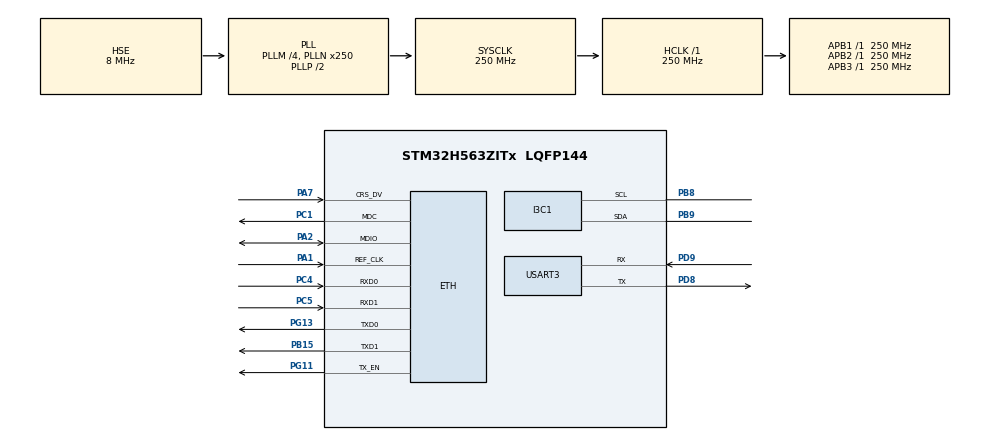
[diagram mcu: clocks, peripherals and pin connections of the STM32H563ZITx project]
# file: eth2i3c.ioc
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CORTEX_M33_NS.userName=CORTEX_M33
ETH.MediaInterface=HAL_ETH_RMII_MODE
ETH.RxBuffLen=1536
GPDMA1.DESTDATAWIDTH_GPDMACH0=DMA_DEST_DATAWIDTH_WORD
GPDMA1.DESTINC_GPDMACH1=DMA_DINC_INCREMENTED
GPDMA1.DIRECTION_GPDMACH2=DMA_MEMORY_TO_PERIPH
GPDMA1.IPHANDLE_GPDMACH0-SIMPLEREQUEST_GPDMACH0=__NULL
GPDMA1.IPHANDLE_GPDMACH1-SIMPLEREQUEST_GPDMACH1=__NULL
GPDMA1.IPHANDLE_GPDMACH2-SIMPLEREQUEST_GPDMACH2=__NULL
GPDMA1.REQUEST_GPDMACH0=GPDMA1_REQUEST_I3C1_TC
GPDMA1.REQUEST_GPDMACH1=GPDMA1_REQUEST_I3C1_RX
GPDMA1.REQUEST_GPDMACH2=GPDMA1_REQUEST_I3C1_TX
GPDMA1.SRCDATAWIDTH_GPDMACH0=DMA_SRC_DATAWIDTH_WORD
GPDMA1.SRCINC_GPDMACH0=DMA_SINC_INCREMENTED
GPDMA1.SRCINC_GPDMACH2=DMA_SINC_INCREMENTED
I3C1.BusFreeDuration=850
I3C1.DutyCycleI3C=50
I3C1.FrequencyI3C=12500
I3C1.RXFIFOThreshold=HAL_I3C_RXFIFO_THRESHOLD_1_4
I3C1.Register0=0x007c0909
I3C1.Register1=0x106a7cf8
I3C1.SCLI3CHighDuration=0x09
I3C1.SCLODLowDuration=0x7c
I3C1.SCLPPLowDuration=0x09
I3C1.SDAHoldTime=HAL_I3C_SDA_HOLD_TIME_1_5
I3C1.StallTime=0
I3C1.TXFIFOThreshold=HAL_I3C_TXFIFO_THRESHOLD_1_4
I3C1.hexBusFreeDuration=0x6a
I3C1.hexBusIdleDuration=0xf8
Mcu.Family=STM32H5
Mcu.Name=STM32H563ZITx
Mcu.Package=LQFP144
NVIC.ETH_IRQn=true\:7\:0\:true\:false\:true\:false\:true\:true\:true
NVIC.GPDMA1_Channel0_IRQn=true\:6\:0\:false\:false\:true\:false\:true\:true\:true
NVIC.GPDMA1_Channel1_IRQn=true\:6\:0\:false\:false\:true\:false\:true\:true\:true
NVIC.GPDMA1_Channel2_IRQn=true\:6\:0\:false\:false\:true\:false\:true\:true\:true
NVIC.I3C1_ER_IRQn=true\:6\:0\:false\:false\:true\:true\:true\:true\:true
NVIC.I3C1_EV_IRQn=true\:6\:0\:false\:false\:true\:true\:true\:true\:true
NVIC.PriorityGroup=NVIC_PRIORITYGROUP_4
NVIC.TIM6_IRQn=true\:15\:0\:false\:false\:true\:false\:false\:true\:true
NVIC.TimeBase=TIM6_IRQn
NVIC.TimeBaseIP=TIM6
PA1.Mode=RMII
PA1.Signal=ETH_REF_CLK
PA2.Mode=RMII
PA2.Signal=ETH_MDIO
PA7.Mode=RMII
PA7.Signal=ETH_CRS_DV
PB8.Mode=Controller
PB8.Signal=I3C1_SCL
PB9.Mode=Controller
PB9.Signal=I3C1_SDA
PB15.Mode=RMII
PB15.Signal=ETH_TXD1
PC1.Mode=RMII
PC1.Signal=ETH_MDC
PC4.Mode=RMII
PC4.Signal=ETH_RXD0
PC5.Mode=RMII
PC5.Signal=ETH_RXD1
PD8.Mode=Asynchronous
PD8.Signal=USART3_TX
PD9.Mode=Asynchronous
PD9.Signal=USART3_RX
PG11.Mode=RMII
PG11.Signal=ETH_TX_EN
PG13.Mode=RMII
PG13.Signal=ETH_TXD0
PH0-OSC_IN(PH0).Mode=HSE-DIG-External-Clock-Source
PH0-OSC_IN(PH0).Signal=RCC_OSC_IN
ProjectManager.HeapSize=0x200
ProjectManager.StackSize=0x400
ProjectManager.TargetToolchain=EWARM V9.20
RCC.ADCFreq_Value=250000000
RCC.AHBFreq_Value=250000000
RCC.APB1Freq_Value=250000000
RCC.APB1TimFreq_Value=250000000
RCC.APB2Freq_Value=250000000
RCC.APB2TimFreq_Value=250000000
RCC.APB3Freq_Value=250000000
RCC.CSI_VALUE=4000000
RCC.CortexFreq_Value=250000000
RCC.EPOD_VALUE=8000000
RCC.HCLKFreq_Value=250000000
RCC.HSE_VALUE=8000000
RCC.HSI48_VALUE=48000000
RCC.HSIDiv=RCC_HSI_DIV1
RCC.HSI_VALUE=64000000
RCC.LSE_VALUE=32768
RCC.LSIRC_VALUE=32000
RCC.PLLFRACN=0
RCC.PLLM=4
RCC.PLLN=250
RCC.PLLSourceVirtual=RCC_PLL1_SOURCE_HSE
RCC.SYSCLKFreq_VALUE=250000000
RCC.SYSCLKSource=RCC_SYSCLKSOURCE_PLLCLK
RCC.USBFreq_Value=48000000
RCC.VCOOutputFreq_Value=500000000
USART3.VirtualMode=VM_ASYNC
USART3.VirtualMode-Asynchronous=VM_ASYNC
VP_BOOTPATH_VS_BOOTPATH.Mode=BP_Activate
VP_CORTEX_M33_NS_VS_Hclk.Mode=Hclk_Mode
VP_GPDMA1_VS_GPDMACH0.Mode=SIMPLEREQUEST_GPDMACH0
VP_GPDMA1_VS_GPDMACH1.Mode=SIMPLEREQUEST_GPDMACH1
VP_GPDMA1_VS_GPDMACH2.Mode=SIMPLEREQUEST_GPDMACH2
VP_ICACHE_VS_ICACHE.Mode=DefaultMode
VP_MEMORYMAP_VS_MEMORYMAP.Mode=CurAppReg
VP_PWR_VS_DBSignals.Mode=DisableDeadBatterySignals
VP_PWR_VS_LPOM.Mode=PowerOptimisation
VP_PWR_VS_SECSignals.Mode=Security/Privilege
VP_SYS_VS_tim6.Mode=TIM6
board=custom

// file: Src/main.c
/* USER CODE BEGIN Header */
/**
 ******************************************************************************
 * @file    Src/main.c
 * @author  MCD Application Team
 * @brief   Main program body
 ******************************************************************************
 * @attention
 *
 * Copyright (c) 2023 STMicroelectronics.
 * All rights reserved.
 *
 * This software is licensed under terms that can be found in the LICENSE file
 * in the root directory of this software component.
 * If no LICENSE file comes with this software, it is provided AS-IS.
 *
 ******************************************************************************
 */
/* USER CODE END Header */
#include "app_freertos.h"
#include "cmsis_os2.h"
#include "main.h"

/* USER CODE BEGIN Includes */
#include "i3c_target.h"

#if defined(__ICCARM__)
#include <LowLevelIOInterface.h>
#endif /* __ICCARM__ */

/* USER CODE END Includes */

UART_HandleTypeDef huart3;
I3C_HandleTypeDef hi3c1;
DMA_HandleTypeDef handle_GPDMA1_Channel2;
DMA_HandleTypeDef handle_GPDMA1_Channel1;
DMA_HandleTypeDef handle_GPDMA1_Channel0;

void SystemClock_Config(void);
static void MX_GPIO_Init(void);
static void MX_ICACHE_Init(void);
static void MX_USART3_UART_Init(void);
static void MX_GPDMA1_Init(void);
static void MX_I3C1_Init(void);

/* USER CODE BEGIN PFP */
#if defined(__ICCARM__)
/* New definition from EWARM V9, compatible with EWARM8 */
int iar_fputc(int ch);
#define PUTCHAR_PROTOTYPE int iar_fputc(int ch)
#elif defined(__CC_ARM) || defined(__ARMCC_VERSION)
/* ARM Compiler 5/6*/
#define PUTCHAR_PROTOTYPE int fputc(int ch, FILE *f)
#elif defined(__GNUC__)
#define PUTCHAR_PROTOTYPE int __io_putchar(int ch)
#endif /* __ICCARM__ */
/* USER CODE END PFP */

/* USER CODE BEGIN 0 */
void HAL_I3C_TgtReqDynamicAddrCallback(I3C_HandleTypeDef *hi3c, uint64_t targetPayload)
{
    Controller_t *controller = ControllerGetByHal(hi3c);

    if ((controller != NULL) && (controller->assignedCount < TARGET_MAX_COUNT))
    {
        uint8_t dynamicAddress = controller->nextDa;
        uint32_t attempts;

        /* Find an unassigned dynamic address in the range 0x10-0x7D. */
        for (attempts = 0U; attempts < 0x6EU; ++attempts)
        {
            if ((dynamicAddress < 0x10U) || (dynamicAddress >= 0x7EU))
            {
                dynamicAddress = 0x10U;
            }
            if (TargetFindByDa(dynamicAddress) == NULL)
            {
                break;
            }
            ++dynamicAddress;
        }
        if (attempts >= 0x6EU)
        {
            controller->daaError = 1U;
            controller->daaDone = 1U;
            return;
        }

        if (HAL_I3C_Ctrl_SetDynAddr(hi3c, dynamicAddress) != HAL_OK)
        {
            controller->daaError = 1U;
            controller->daaDone = 1U;
            return;
        }
        if (TargetCreateByDa(dynamicAddress, targetPayload) == NULL)
        {
            controller->daaError = 1U;
            controller->daaDone = 1U;
            return;
        }

        ++controller->assignedCount;
        controller->nextDa = (uint8_t)(dynamicAddress + 1U);
        return;
    }

    if (controller != NULL)
    {
        controller->daaError = 1U;
        controller->daaDone = 1U;
    }
}

void HAL_I3C_CtrlDAACpltCallback(I3C_HandleTypeDef *hi3c)
{
    Controller_t *controller = ControllerGetByHal(hi3c);

    if (controller != NULL)
    {
        controller->daaDone = 1U;
    }
}

void HAL_I3C_ErrorCallback(I3C_HandleTypeDef *hi3c)
{
    Controller_t *controller = ControllerGetByHal(hi3c);

    if (controller != NULL)
    {
        controller->daaError = 1U;
        controller->daaDone = 1U;
    }
}

/* USER CODE END 0 */

int main(void)
{

    /* MCU Configuration--------------------------------------------------------*/

    /* Reset of all peripherals, Initializes the Flash interface and the Systick. */
    HAL_Init();

    /* Configure the system clock */
    SystemClock_Config();

    /* Initialize all configured peripherals */
    MX_GPIO_Init();
    MX_ICACHE_Init();
    MX_USART3_UART_Init();
    printf("\r\neth2i3c starting...\r\n");
    MX_GPDMA1_Init();
    MX_I3C1_Init();
    /* USER CODE BEGIN 2 */
    if (osKernelInitialize() != osOK)
    {
        Error_Handler();
    }
    if (!ControllerInit())
    {
        Error_Handler();
    }
    printf("I3C controller initialized\r\n");

    if (!AppFreertosInit())
    {
        Error_Handler();
    }
    printf("FreeRTOS kernel starting...\r\n");

    /* USER CODE END 2 */

    if (osKernelStart() != osOK)
    {
        Error_Handler();
    }

    /* We should never get here as control is now taken by the scheduler */

    /* Infinite loop */
    while (1)
    {

    }
}

static void MX_GPDMA1_Init(void)
{
    __HAL_RCC_GPDMA1_CLK_ENABLE();

    HAL_NVIC_SetPriority(GPDMA1_Channel0_IRQn, 6, 0);
    HAL_NVIC_EnableIRQ(GPDMA1_Channel0_IRQn);
    HAL_NVIC_SetPriority(GPDMA1_Channel1_IRQn, 6, 0);
    HAL_NVIC_EnableIRQ(GPDMA1_Channel1_IRQn);
    HAL_NVIC_SetPriority(GPDMA1_Channel2_IRQn, 6, 0);
    HAL_NVIC_EnableIRQ(GPDMA1_Channel2_IRQn);
}

static void MX_I3C1_Init(void)
{
    I3C_FifoConfTypeDef sFifoConfig = {0};
    I3C_CtrlConfTypeDef sCtrlConfig = {0};

    hi3c1.Instance = I3C1;
    hi3c1.Mode = HAL_I3C_MODE_CONTROLLER;
    hi3c1.Init.CtrlBusCharacteristic.SDAHoldTime = HAL_I3C_SDA_HOLD_TIME_1_5;
    hi3c1.Init.CtrlBusCharacteristic.WaitTime = HAL_I3C_OWN_ACTIVITY_STATE_0;
    hi3c1.Init.CtrlBusCharacteristic.SCLPPLowDuration = 0x09;
    hi3c1.Init.CtrlBusCharacteristic.SCLI3CHighDuration = 0x09;
    hi3c1.Init.CtrlBusCharacteristic.SCLODLowDuration = 0x7C;
    hi3c1.Init.CtrlBusCharacteristic.SCLI2CHighDuration = 0x7C;
    hi3c1.Init.CtrlBusCharacteristic.BusFreeDuration = 0x6A;
    hi3c1.Init.CtrlBusCharacteristic.BusIdleDuration = 0xF8;

    if (HAL_I3C_Init(&hi3c1) != HAL_OK)
    {
        Error_Handler();
    }

    sFifoConfig.RxFifoThreshold = HAL_I3C_RXFIFO_THRESHOLD_1_4;
    sFifoConfig.TxFifoThreshold = HAL_I3C_TXFIFO_THRESHOLD_1_4;
    sFifoConfig.ControlFifo = HAL_I3C_CONTROLFIFO_DISABLE;
    sFifoConfig.StatusFifo = HAL_I3C_STATUSFIFO_DISABLE;
    if (HAL_I3C_SetConfigFifo(&hi3c1, &sFifoConfig) != HAL_OK)
    {
        Error_Handler();
    }

    sCtrlConfig.DynamicAddr = 0U;
    sCtrlConfig.StallTime = 0U;
    sCtrlConfig.HotJoinAllowed = DISABLE;
    sCtrlConfig.ACKStallState = DISABLE;
    sCtrlConfig.CCCStallState = DISABLE;
    sCtrlConfig.TxStallState = DISABLE;
    sCtrlConfig.RxStallState = DISABLE;
    sCtrlConfig.HighKeeperSDA = DISABLE;
    if (HAL_I3C_Ctrl_Config(&hi3c1, &sCtrlConfig) != HAL_OK)
    {
        Error_Handler();
    }
}

void SystemClock_Config(void)
{
    RCC_OscInitTypeDef RCC_OscInitStruct = {0};
    RCC_ClkInitTypeDef RCC_ClkInitStruct = {0};

    /** Configure the main internal regulator output voltage
     */
    __HAL_PWR_VOLTAGESCALING_CONFIG(PWR_REGULATOR_VOLTAGE_SCALE0);

    while (!__HAL_PWR_GET_FLAG(PWR_FLAG_VOSRDY))
    {
    }

    /** Initializes the RCC Oscillators according to the specified parameters
     * in the RCC_OscInitTypeDef structure.
     */
    RCC_OscInitStruct.OscillatorType = RCC_OSCILLATORTYPE_HSE;
    RCC_OscInitStruct.HSEState = RCC_HSE_BYPASS_DIGITAL;
    RCC_OscInitStruct.PLL.PLLState = RCC_PLL_ON;
    RCC_OscInitStruct.PLL.PLLSource = RCC_PLL1_SOURCE_HSE;
    RCC_OscInitStruct.PLL.PLLM = 4;
    RCC_OscInitStruct.PLL.PLLN = 250;
    RCC_OscInitStruct.PLL.PLLP = 2;
    RCC_OscInitStruct.PLL.PLLQ = 2;
    RCC_OscInitStruct.PLL.PLLR = 2;
    RCC_OscInitStruct.PLL.PLLRGE = RCC_PLL1_VCIRANGE_1;
    RCC_OscInitStruct.PLL.PLLVCOSEL = RCC_PLL1_VCORANGE_WIDE;
    RCC_OscInitStruct.PLL.PLLFRACN = 0;
    if (HAL_RCC_OscConfig(&RCC_OscInitStruct) != HAL_OK)
    {
        Error_Handler();
    }

    /** Initializes the CPU, AHB and APB buses clocks
     */
    RCC_ClkInitStruct.ClockType =
        RCC_CLOCKTYPE_HCLK | RCC_CLOCKTYPE_SYSCLK | RCC_CLOCKTYPE_PCLK1 | RCC_CLOCKTYPE_PCLK2 | RCC_CLOCKTYPE_PCLK3;
    RCC_ClkInitStruct.SYSCLKSource = RCC_SYSCLKSOURCE_PLLCLK;
    RCC_ClkInitStruct.AHBCLKDivider = RCC_SYSCLK_DIV1;
    RCC_ClkInitStruct.APB1CLKDivider = RCC_HCLK_DIV1;
    RCC_ClkInitStruct.APB2CLKDivider = RCC_HCLK_DIV1;
    RCC_ClkInitStruct.APB3CLKDivider = RCC_HCLK_DIV1;

    if (HAL_RCC_ClockConfig(&RCC_ClkInitStruct, FLASH_LATENCY_5) != HAL_OK)
    {
        Error_Handler();
    }

    /** Configure the programming delay
     */
    __HAL_FLASH_SET_PROGRAM_DELAY(FLASH_PROGRAMMING_DELAY_2);
}

static void MX_ICACHE_Init(void)
{

    /** Enable instruction cache (default 2-ways set associative cache)
     */
    if (HAL_ICACHE_Enable() != HAL_OK)
    {
        Error_Handler();
    }
}

static void MX_USART3_UART_Init(void)
{

    huart3.Instance = USART3;
    huart3.Init.BaudRate = 115200;
    huart3.Init.WordLength = UART_WORDLENGTH_8B;
    huart3.Init.StopBits = UART_STOPBITS_1;
    huart3.Init.Parity = UART_PARITY_NONE;
    huart3.Init.Mode = UART_MODE_TX_RX;
    huart3.Init.HwFlowCtl = UART_HWCONTROL_NONE;
    huart3.Init.OverSampling = UART_OVERSAMPLING_16;
    huart3.Init.OneBitSampling = UART_ONE_BIT_SAMPLE_DISABLE;
    huart3.Init.ClockPrescaler = UART_PRESCALER_DIV1;
    huart3.AdvancedInit.AdvFeatureInit = UART_ADVFEATURE_NO_INIT;
    if (HAL_UART_Init(&huart3) != HAL_OK)
    {
        Error_Handler();
    }
    if (HAL_UARTEx_SetTxFifoThreshold(&huart3, UART_TXFIFO_THRESHOLD_1_8) != HAL_OK)
    {
        Error_Handler();
    }
    if (HAL_UARTEx_SetRxFifoThreshold(&huart3, UART_RXFIFO_THRESHOLD_1_8) != HAL_OK)
    {
        Error_Handler();
    }
    if (HAL_UARTEx_DisableFifoMode(&huart3) != HAL_OK)
    {
        Error_Handler();
    }
}

static void MX_GPIO_Init(void)
{

    /* GPIO Ports Clock Enable */
    __HAL_RCC_GPIOH_CLK_ENABLE();
    __HAL_RCC_GPIOC_CLK_ENABLE();
    __HAL_RCC_GPIOA_CLK_ENABLE();
    __HAL_RCC_GPIOB_CLK_ENABLE();
    __HAL_RCC_GPIOD_CLK_ENABLE();
    __HAL_RCC_GPIOG_CLK_ENABLE();

}

#if 1
/* USER CODE BEGIN 4 */
/**
 * @brief  Retargets the C library __write function to the IAR function iar_fputc.
 * @param  file: file descriptor.
 * @param  ptr: pointer to the buffer where the data is stored.
 * @param  len: length of the data to write in bytes.
 * @retval length of the written data in bytes.
 */
#if defined(__ICCARM__)
size_t __write(int file, unsigned char const *ptr, size_t len)
{
    size_t idx;
    unsigned char const *pdata = ptr;

    for (idx = 0; idx < len; idx++)
    {
        iar_fputc((int)*pdata);
        pdata++;
    }
    return len;
}
#endif /* __ICCARM__ */

/**
 * @brief  Retargets the C library printf function to the USART.
 */
PUTCHAR_PROTOTYPE
{
    /* Place your implementation of putchar here */
    /* e.g. write a character to the USART3 and Loop until the end of transmission */
    HAL_UART_Transmit(&huart3, (uint8_t *)&ch, 1, 0xFFFF);

    return ch;
}
#endif

/* USER CODE END 4 */

void HAL_TIM_PeriodElapsedCallback(TIM_HandleTypeDef *htim)
{
    if (htim->Instance == TIM6)
    {
        HAL_IncTick();
    }
}

void Error_Handler(void)
{
    while (1)
    {
    }
}

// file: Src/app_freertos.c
#include "app_freertos.h"

#include "FreeRTOS.h"
#include "FreeRTOS_IP.h"
#include "cmsis_os2.h"
#include "main.h"
#include "tcp_server.h"

#include <stdint.h>
#include <stdio.h>

#define APP_IP_ADDRESS_0 192U
#define APP_IP_ADDRESS_1 168U
#define APP_IP_ADDRESS_2 1U
#define APP_IP_ADDRESS_3 212U

static const uint8_t ipAddress[4] =
{
    APP_IP_ADDRESS_0, APP_IP_ADDRESS_1, APP_IP_ADDRESS_2, APP_IP_ADDRESS_3
};
static const uint8_t netMask[4] = {255U, 255U, 255U, 0U};
static const uint8_t gatewayAddress[4] = {192U, 168U, 1U, 1U};
static const uint8_t dnsAddress[4] = {192U, 168U, 1U, 1U};
static const uint8_t macAddress[6] = {0x02U, 0x80U, 0xE1U, 0x00U, 0x00U, 0x01U};

bool AppFreertosInit(void)
{
    static const osThreadAttr_t tcpThreadAttributes =
    {
        .name = "TcpServer",
        .priority = osPriorityNormal,
        .stack_size = 4096U
    };
    osThreadId_t tcpThread;

    if (FreeRTOS_IPInit(ipAddress, netMask, gatewayAddress, dnsAddress, macAddress) != pdPASS)
    {
        return false;
    }

    tcpThread = osThreadNew(TcpServerTask, NULL, &tcpThreadAttributes);
    if (tcpThread == NULL)
    {
        return false;
    }

    return true;
}

void vApplicationIPNetworkEventHook(eIPCallbackEvent_t networkEvent)
{
    if (networkEvent == eNetworkUp)
    {
        printf("Network up: %u.%u.%u.%u\r\n", APP_IP_ADDRESS_0, APP_IP_ADDRESS_1,
               APP_IP_ADDRESS_2, APP_IP_ADDRESS_3);
    }
    else
    {
        printf("Network down\r\n");
    }
}

BaseType_t xApplicationGetRandomNumber(uint32_t *number)
{
    static uint32_t state = 0xA5C39E71U;

    if (number == NULL)
    {
        return pdFAIL;
    }
    state ^= HAL_GetTick() + 0x9E3779B9U;
    state ^= state << 13U;
    state ^= state >> 17U;
    state ^= state << 5U;
    if (state == 0U)
    {
        state = 0x6D2B79F5U;
    }
    *number = state;
    return pdPASS;
}

uint32_t ulApplicationGetNextSequenceNumber(uint32_t sourceAddress, uint16_t sourcePort,
                                            uint32_t destinationAddress, uint16_t destinationPort)
{
    uint32_t value;

    if (xApplicationGetRandomNumber(&value) != pdPASS)
    {
        value = HAL_GetTick();
    }
    return value ^ sourceAddress ^ destinationAddress ^ ((uint32_t)sourcePort << 16U) ^ destinationPort;
}

void vApplicationMallocFailedHook(void)
{
    Error_Handler();
}

void vApplicationStackOverflowHook(TaskHandle_t task, char *taskName)
{
    (void)task;
    (void)taskName;
    Error_Handler();
}
